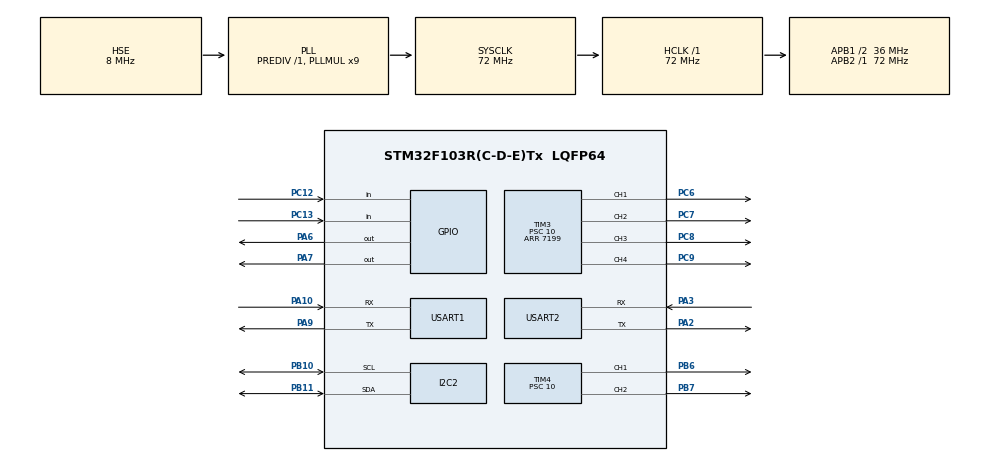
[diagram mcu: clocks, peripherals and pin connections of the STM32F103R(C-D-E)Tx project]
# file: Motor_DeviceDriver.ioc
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Mcu.Family=STM32F1
Mcu.Name=STM32F103R(C-D-E)Tx
Mcu.Package=LQFP64
NVIC.PriorityGroup=NVIC_PRIORITYGROUP_4
NVIC.USART1_IRQn=true\:0\:0\:false\:false\:true\:true\:true\:true
PA10.Mode=Asynchronous
PA10.Signal=USART1_RX
PA13.Mode=Serial_Wire
PA13.Signal=SYS_JTMS-SWDIO
PA14.Mode=Serial_Wire
PA14.Signal=SYS_JTCK-SWCLK
PA2.Mode=Asynchronous
PA2.Signal=USART2_TX
PA3.Mode=Asynchronous
PA3.Signal=USART2_RX
PA6.Signal=GPIO_Output
PA7.Signal=GPIO_Output
PA9.Mode=Asynchronous
PA9.Signal=USART1_TX
PB10.Mode=I2C
PB10.Signal=I2C2_SCL
PB11.Mode=I2C
PB11.Signal=I2C2_SDA
PB6.Signal=S_TIM4_CH1
PB7.Signal=S_TIM4_CH2
PC12.GPIO_Mode=GPIO_MODE_INPUT
PC12.GPIO_PuPd=GPIO_PULLUP
PC12.Signal=GPIO_Input
PC13-TAMPER-RTC.GPIO_Mode=GPIO_MODE_INPUT
PC13-TAMPER-RTC.GPIO_PuPd=GPIO_PULLUP
PC13-TAMPER-RTC.Signal=GPIO_Input
PC6.Signal=S_TIM3_CH1
PC7.Signal=S_TIM3_CH2
PC8.Signal=S_TIM3_CH3
PC9.Signal=S_TIM3_CH4
PD0-OSC_IN.Mode=HSE-External-Oscillator
PD0-OSC_IN.Signal=RCC_OSC_IN
PD1-OSC_OUT.Mode=HSE-External-Oscillator
PD1-OSC_OUT.Signal=RCC_OSC_OUT
ProjectManager.HeapSize=0x200
ProjectManager.StackSize=0x400
ProjectManager.TargetToolchain=MDK-ARM V5.32
RCC.AHBFreq_Value=72000000
RCC.APB1CLKDivider=RCC_HCLK_DIV2
RCC.APB1Freq_Value=36000000
RCC.APB1TimFreq_Value=72000000
RCC.APB2Freq_Value=72000000
RCC.APB2TimFreq_Value=72000000
RCC.HCLKFreq_Value=72000000
RCC.PLLMUL=RCC_PLL_MUL9
RCC.PLLSourceVirtual=RCC_PLLSOURCE_HSE
RCC.SYSCLKFreq_VALUE=72000000
RCC.SYSCLKSource=RCC_SYSCLKSOURCE_PLLCLK
RCC.USBFreq_Value=72000000
SH.S_TIM3_CH1.0=TIM3_CH1,PWM Generation1 CH1
SH.S_TIM3_CH2.0=TIM3_CH2,PWM Generation2 CH2
SH.S_TIM3_CH3.0=TIM3_CH3,PWM Generation3 CH3
SH.S_TIM3_CH4.0=TIM3_CH4,PWM Generation4 CH4
SH.S_TIM4_CH1.0=TIM4_CH1,PWM Generation1 CH1
SH.S_TIM4_CH2.0=TIM4_CH2,PWM Generation2 CH2
TIM1.Period=99
TIM1.Prescaler=7199
TIM3.AutoReloadPreload=TIM_AUTORELOAD_PRELOAD_ENABLE
TIM3.Channel-PWM\ Generation1\ CH1=TIM_CHANNEL_1
TIM3.Channel-PWM\ Generation2\ CH2=TIM_CHANNEL_2
TIM3.Channel-PWM\ Generation3\ CH3=TIM_CHANNEL_3
TIM3.Channel-PWM\ Generation4\ CH4=TIM_CHANNEL_4
TIM3.Period=7199
TIM3.Prescaler=10
TIM3.Pulse-PWM\ Generation2\ CH2=0
TIM4.AutoReloadPreload=TIM_AUTORELOAD_PRELOAD_ENABLE
TIM4.Channel-PWM\ Generation1\ CH1=TIM_CHANNEL_1
TIM4.Channel-PWM\ Generation2\ CH2=TIM_CHANNEL_2
TIM4.Period=7199
TIM4.Prescaler=10
USART1.VirtualMode=VM_ASYNC
USART2.VirtualMode=VM_ASYNC
VP_TIM1_VS_ClockSourceINT.Mode=Internal
board=custom

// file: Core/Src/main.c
/* USER CODE BEGIN Header */
/**
  ******************************************************************************
  * @file           : main.c
  * @brief          : Main program body
  ******************************************************************************
  * @attention
  *
  * Copyright (c) 2025 STMicroelectronics.
  * All rights reserved.
  *
  * This software is licensed under terms that can be found in the LICENSE file
  * in the root directory of this software component.
  * If no LICENSE file comes with this software, it is provided AS-IS.
  *
  ******************************************************************************
  */
/* USER CODE END Header */
#include "main.h"
#include "i2c.h"
#include "tim.h"
#include "usart.h"
#include "gpio.h"

/* USER CODE BEGIN Includes */
//#include "oled.h"
#include "FreeRTOS.h"
#include "task.h"
#include "motor_control.h"
#include "mpu6050.h"
#include "stdint.h"
#include "stdio.h"
#include "string.h"
#include "FreeRTOS_main.h"
#include "u8g2.h"
#include "UI.h"
#include "UI_PID.h"
#include "menu.h"

u8g2_t u8g2;
/* USER CODE END Includes */

void SystemClock_Config(void);
/* USER CODE BEGIN PFP */
uint8_t u8g2_stm32_delay(U8X8_UNUSED u8x8_t *u8x8, U8X8_UNUSED uint8_t msg, U8X8_UNUSED uint8_t arg_int, U8X8_UNUSED void *arg_ptr);

/* USER CODE END PFP */

int main(void)
{

  /* MCU Configuration--------------------------------------------------------*/

  /* Reset of all peripherals, Initializes the Flash interface and the Systick. */
  HAL_Init();

  /* USER CODE BEGIN Init */
	u8g2_Setup_ssd1306_i2c_128x32_univision_f(&u8g2 ,U8G2_R0, u8x8_byte_hw_i2c,u8g2_stm32_delay);

  /* USER CODE END Init */

  /* Configure the system clock */
  SystemClock_Config();

  /* Initialize all configured peripherals */
  MX_GPIO_Init();
  MX_TIM3_Init();
  MX_I2C2_Init();
  MX_TIM4_Init();
  MX_USART1_UART_Init();
  MX_USART2_UART_Init();
  MX_TIM1_Init();
  /* USER CODE BEGIN 2 */
	HAL_TIM_Base_Start(&htim1);

//	u8g2_InitDisplay(&u8g2); // send init sequence to the display, display is in sleep mode after this,
//	u8g2_SetPowerSave(&u8g2, 0); // wake up display
//	u8g2_ClearBuffer(&u8g2);
//	MPU6050_init(&hi2c2);
//	MPU6050 mpu_data;  // 姿态变量

//u8g2_InitDisplay(&u8g2);                  // 初始化控制器
//u8g2_SetPowerSave(&u8g2, 0);              // 关省电，打开面板

//u8g2_ClearBuffer(&u8g2);
//u8g2_SetFont(&u8g2, u8g2_font_6x12_tf);
//u8g2_DrawStr(&u8g2, 0, 12, "HELLO");
//u8g2_SendBuffer(&u8g2);
FreeRTOS_Start();

  /* USER CODE END 2 */

  /* Infinite loop */
  /* USER CODE BEGIN WHILE */
  while (1)
	{
//  {  MPU6050_Get_Angle_Plus(&mpu_data);

//			  double Real_yaw   =  mpu_data.yaw;
//				double Real_pitch =  -mpu_data.roll;
//				double Real_row   =  mpu_data.pitch;
//
//        char uart_msg[100];
//        sprintf(uart_msg, "%.3f,%.3f,%.3f\n",
//        Real_yaw, Real_pitch, Real_row);
//        HAL_UART_Transmit(&huart1, (uint8_t*)uart_msg, strlen(uart_msg), 10);

//	Main_Loop();

    /* USER CODE END WHILE */

  }
}

void SystemClock_Config(void)
{
  RCC_OscInitTypeDef RCC_OscInitStruct = {0};
  RCC_ClkInitTypeDef RCC_ClkInitStruct = {0};

  /** Initializes the RCC Oscillators according to the specified parameters
  * in the RCC_OscInitTypeDef structure.
  */
  RCC_OscInitStruct.OscillatorType = RCC_OSCILLATORTYPE_HSE;
  RCC_OscInitStruct.HSEState = RCC_HSE_ON;
  RCC_OscInitStruct.HSEPredivValue = RCC_HSE_PREDIV_DIV1;
  RCC_OscInitStruct.HSIState = RCC_HSI_ON;
  RCC_OscInitStruct.PLL.PLLState = RCC_PLL_ON;
  RCC_OscInitStruct.PLL.PLLSource = RCC_PLLSOURCE_HSE;
  RCC_OscInitStruct.PLL.PLLMUL = RCC_PLL_MUL9;
  if (HAL_RCC_OscConfig(&RCC_OscInitStruct) != HAL_OK)
  {
    Error_Handler();
  }

  /** Initializes the CPU, AHB and APB buses clocks
  */
  RCC_ClkInitStruct.ClockType = RCC_CLOCKTYPE_HCLK|RCC_CLOCKTYPE_SYSCLK
                              |RCC_CLOCKTYPE_PCLK1|RCC_CLOCKTYPE_PCLK2;
  RCC_ClkInitStruct.SYSCLKSource = RCC_SYSCLKSOURCE_PLLCLK;
  RCC_ClkInitStruct.AHBCLKDivider = RCC_SYSCLK_DIV1;
  RCC_ClkInitStruct.APB1CLKDivider = RCC_HCLK_DIV2;
  RCC_ClkInitStruct.APB2CLKDivider = RCC_HCLK_DIV1;

  if (HAL_RCC_ClockConfig(&RCC_ClkInitStruct, FLASH_LATENCY_2) != HAL_OK)
  {
    Error_Handler();
  }
}

/* USER CODE BEGIN 4 */
uint8_t u8g2_stm32_delay(U8X8_UNUSED u8x8_t *u8x8,
                         U8X8_UNUSED uint8_t msg,
                         U8X8_UNUSED uint8_t arg_int,
                         U8X8_UNUSED void *arg_ptr)
{
    switch(msg)
    {
    case U8X8_MSG_GPIO_AND_DELAY_INIT:
        /* 如果有需要初始化的 GPIO，这里写；没有可以空着 */
        break;

    case U8X8_MSG_DELAY_MILLI:
        if (arg_int == 0) {
            taskYIELD();   // 让出 CPU
        } else {
            vTaskDelay(pdMS_TO_TICKS(arg_int)); // RTOS 延时，单位 ms
        }
        break;

    case U8X8_MSG_DELAY_10MICRO:
        /* 简单忙等，不依赖硬件 */
        for (volatile uint32_t n = 0; n < arg_int * 20; n++) {
            __NOP();
        }
        break;

    case U8X8_MSG_DELAY_100NANO:
        __NOP(); // 太短了，用 NOP 占位
        break;

    default:
        return 0;  // 未处理的消息
    }
    return 1;      // 成功处理
}
/* USER CODE END 4 */

void Error_Handler(void)
{
  __disable_irq();
  while (1)
  {
  }
}
